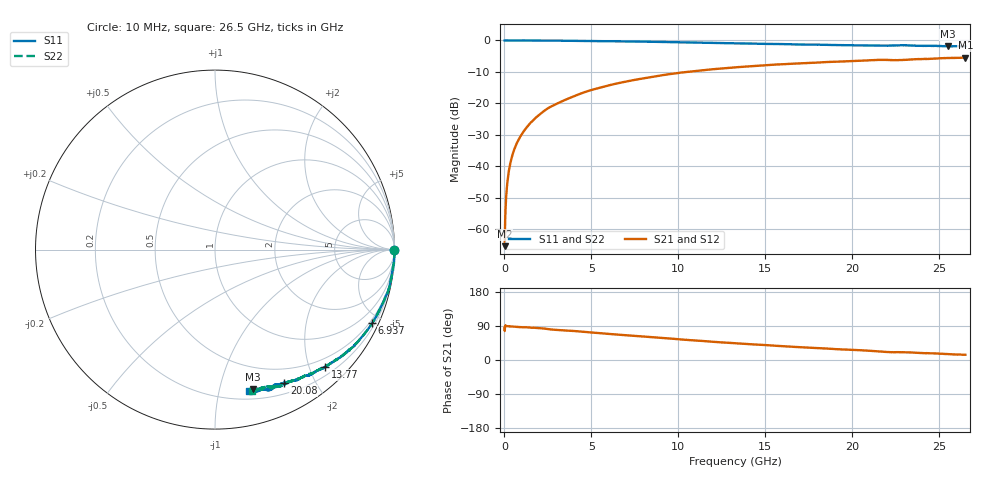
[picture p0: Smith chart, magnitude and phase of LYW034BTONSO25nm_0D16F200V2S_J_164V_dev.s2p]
!Keysight Technologies,N5222B,MY61253708,A.15.00.15
!Date: Wednesday, June 19, 2024 10:19:22
!Correction: S11(C  2-Port  )
!S21(C  2-Port  )
!S12(C  2-Port  )
!S22(C  2-Port  )
!S2P File: Measurements: S11, S21, S12, S22:
# Hz S  RI  R 50
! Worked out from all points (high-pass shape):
!   2651 points, 10 MHz to 26.5 GHz, reference 50 ohm
!   highest |S21| = -5.42 dB at 26.5 GHz (marker M1); lowest = -65.5 dB at 10 MHz (marker M2)
!   |S21| within 3 dB of the highest: 13.57751 GHz to 13.61265 GHz (35.14 MHz wide, 0.258 % of centre); 13.62 GHz to end of sweep
!   lowest |S11| = -1.9 dB at 25.5 GHz (marker M3), VSWR 9.19, Z = 14.4 - j63.2 ohm
!   |S11| at or under -10 dB: nowhere
!   |S22| runs from -1.8 to 0.0 dB; largest |S21 - S12| = 0.0062
!   S11 on the Smith chart (normalised r, x): 10 MHz: open; 6.937 GHz: 0.36, -4.45; 13.77 GHz: 0.34, -2.27; 20.08 GHz: 0.32, -1.60; 26.5 GHz: 0.27, -1.23
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1e7  0.9986 -0.00292  5.8e-05 0.000529  -0.000361 0.000155  0.9982 -0.00145
7.997358e7  0.9999 -0.0057  2.07e-05 0.00262  2.78e-05 0.00261  0.9994 -0.00515
1.599434e8  0.9999 -0.0112  5.91e-05 0.00524  6.43e-05 0.00526  0.9997 -0.0104
2.099245e8  0.9997 -0.0139  9.77e-05 0.00684  8.83e-05 0.0069  0.9995 -0.0133
2.798981e8  0.9999 -0.0188  0.00016 0.00914  0.000177 0.00916  0.9998 -0.0179
3.898566e8  0.9995 -0.0263  0.000331 0.0127  0.000352 0.0128  0.9995 -0.0253
5.198075e8  0.9989 -0.0342  0.00059 0.0169  0.000559 0.017  0.9989 -0.0333
6.797472e8  0.9985 -0.0445  0.000959 0.0222  0.000964 0.0222  0.9988 -0.0434
8.696755e8  0.998 -0.0572  0.00158 0.0282  0.00154 0.0283  0.9972 -0.0561
1.479445e9  0.9909 -0.0983  0.00377 0.0483  0.00379 0.0484  0.9937 -0.094
2.349117e9  0.9823 -0.1513  0.00992 0.0774  0.01 0.0777  0.9838 -0.1505
3.278766e9  0.971 -0.2099  0.0212 0.1046  0.0214 0.1049  0.9713 -0.2078
4.428332e9  0.9441 -0.2775  0.0372 0.1396  0.0375 0.1401  0.9464 -0.2733
6.937385e9  0.8748 -0.411  0.0912 0.2003  0.0923 0.2005  0.877 -0.4079
8.846664e9  0.8079 -0.4984  0.1414 0.2347  0.1426 0.2349  0.811 -0.4946
1.3255e10  0.6345 -0.64  0.267 0.2605  0.2688 0.2599  0.6409 -0.6362
1.37748e10  0.6134 -0.6542  0.2813 0.2595  0.2825 0.2586  0.62 -0.6477
1.767333e10  0.4642 -0.7214  0.3729 0.2349  0.3759 0.2331  0.4779 -0.7171
2.008242e10  0.3864 -0.7434  0.42 0.2101  0.4218 0.2071  0.4034 -0.7391
2.209166e10  0.3291 -0.7565  0.4564 0.1747  0.4579 0.1715  0.3268 -0.7616
2.550038e10  0.2095 -0.776  0.5065 0.1389  0.5077 0.1382  0.2337 -0.7781
2.65e10  0.1897 -0.7901  0.5201 0.1277  0.5193 0.1237  0.2071 -0.7882
